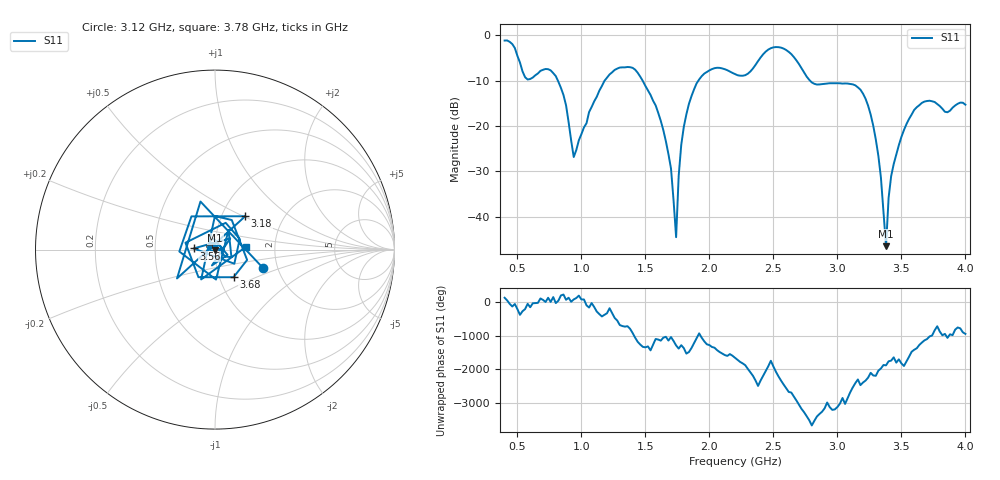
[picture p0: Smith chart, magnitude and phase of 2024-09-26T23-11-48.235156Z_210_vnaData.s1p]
!Created with skrf (http://scikit-rf.org).
# Hz S RI R 50.0
!freq ReS11 ImS11
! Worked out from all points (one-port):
!   181 points, 400 MHz to 4 GHz, reference 50 ohm
!   lowest |S11| = -46.5 dB at 3.38 GHz (marker M1), VSWR 1.01, Z = 50.1 - j0.469 ohm
!   |S11| at or under -10 dB: 815.7 MHz to 1.182 GHz (366.4 MHz wide, 36.7 % of centre); 1.478 GHz to 1.915 GHz (436.9 MHz wide, 25.8 % of centre); 2.785 GHz to end of sweep
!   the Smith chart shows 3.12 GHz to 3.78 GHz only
!   S11 on the Smith chart (normalised r, x): 3.12 GHz: 1.68, -0.38; 3.18 GHz: 1.29, +0.51; 3.56 GHz: 0.79, +0.01; 3.68 GHz: 1.17, -0.37; 3.78 GHz: 1.42, +0.05
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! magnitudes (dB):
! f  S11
! 400 MHz  -1.2
! 560 MHz  -9.3
! 740 MHz  -7.5
! 860 MHz  -13.2
! 940 MHz  -26.9
! 1.14 GHz  -12.2
! 1.3 GHz  -7.1
! 1.42 GHz  -7.6
! 1.6 GHz  -17.1
! 1.7 GHz  -29.4
! 1.74 GHz  -44.5
! 1.76 GHz  -31.0
! 1.8 GHz  -20.2
! 1.9 GHz  -10.6
! 2.2 GHz  -8.6
! 2.5 GHz  -2.7
! 2.66 GHz  -4.8
! 2.82 GHz  -10.7
! 3.1 GHz  -10.8
! 3.12 GHz  -10.8
! 3.18 GHz  -12.0
! 3.3 GHz  -23.0
! 3.38 GHz  -46.5
! 3.42 GHz  -31.1
! 3.56 GHz  -18.5
! 3.68 GHz  -14.6
! 3.78 GHz  -15.2
! 4 GHz  -15.3
